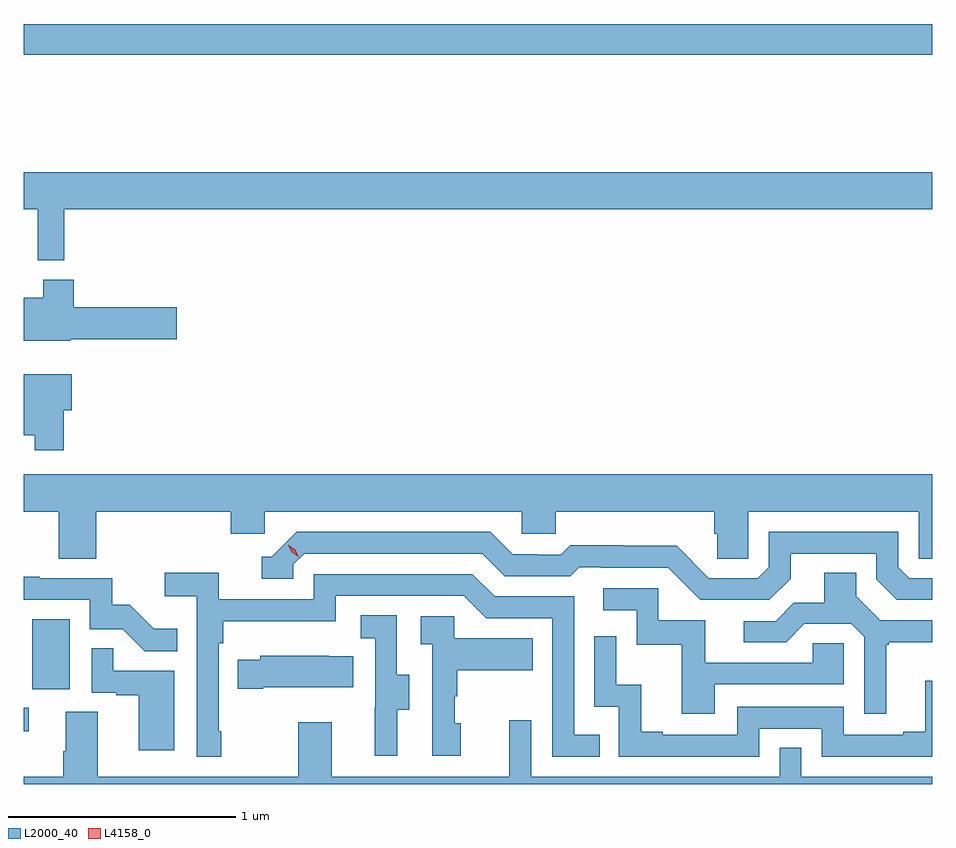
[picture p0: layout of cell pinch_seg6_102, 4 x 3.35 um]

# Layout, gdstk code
import gdstk
lib = gdstk.Library(unit=1e-6, precision=1e-09)
def R(c, l, rs):  # rectangles x0, y0, x1, y1
    for r in rs: c.add(gdstk.rectangle(r[:2], r[2:], *l))
def P(c, l, *ps):  # polygons
    for p in ps: c.add(gdstk.Polygon(p, *l))
L2000_40 = (2000, 40)
L4158_0 = (4158, 0)

pinch_seg6_102 = lib.new_cell('pinch_seg6_102')
R(pinch_seg6_102, L2000_40, [(898.549,915.732,898.57,915.837), (898.586,915.918,898.75,916.225), (898.549,918.712,902.549,918.848)])
P(pinch_seg6_102, L2000_40, [(898.727,918.032),(902.549,918.032),(902.549,918.196),(898.549,918.196),(898.549,918.032),(898.61,918.032),(898.61,917.807),(898.727,917.807)],
  [(898.752,917.459),(899.221,917.459),(899.221,917.601),(898.769,917.601),(898.769,917.722),(898.634,917.722),(898.634,917.641),(898.549,917.641),(898.549,917.453),(898.752,917.453)],
  [(898.724,917.147),(898.759,917.147),(898.759,917.305),(898.549,917.305),(898.549,917.036),(898.596,917.036),(898.596,916.971),(898.724,916.971)],
  [(898.868,916.7),(899.459,916.7),(899.459,916.602),(899.61,916.602),(899.61,916.7),(900.741,916.7),(900.741,916.602),(900.891,916.602),(900.891,916.7),(901.589,916.7),(901.589,916.602),(901.603,916.602),(901.603,916.492),(901.74,916.492),(901.74,916.7),(902.49,916.7),(902.49,916.492),(902.549,916.492),(902.549,916.864),(898.549,916.864),(898.549,916.7),(898.703,916.7),(898.703,916.492),(898.868,916.492)],
  [(901.927,916.405),(901.927,916.515),(902.304,916.515),(902.304,916.401),(902.394,916.311),(902.549,916.311),(902.549,916.407),(902.448,916.407),(902.4,916.455),(902.4,916.611),(901.83,916.611),(901.83,916.455),(901.782,916.407),(901.566,916.407),(901.424,916.549),(901.188,916.549),(901.188,916.552),(900.955,916.552),(900.913,916.509),(900.81,916.509),(900.81,916.512),(900.703,916.512),(900.604,916.611),(899.751,916.611),(899.64,916.5),(899.597,916.5),(899.597,916.404),(899.736,916.404),(899.736,916.467),(899.784,916.515),(900.567,916.515),(900.666,916.416),(900.955,916.416),(900.994,916.455),(901.093,916.455),(901.093,916.452),(901.386,916.452),(901.527,916.311),(901.833,916.311)],
  [(902.347,916.113),(902.359,916.113),(902.359,916.124),(902.549,916.124),(902.549,916.221),(902.322,916.221),(902.215,916.328),(902.215,916.43),(902.075,916.43),(902.075,916.298),(901.94,916.298),(901.86,916.218),(901.719,916.218),(901.719,916.125),(901.906,916.125),(901.987,916.206),(902.193,916.206),(902.25,916.149),(902.25,915.81),(902.347,915.81)],
  [(899.419,915.733),(899.406,915.733),(899.406,916.121),(899.426,916.121),(899.426,916.217),(899.922,916.217),(899.922,916.329),(900.486,916.329),(900.585,916.23),(900.876,916.23),(900.876,915.621),(901.085,915.621),(901.085,915.717),(900.972,915.717),(900.972,916.326),(900.622,916.326),(900.523,916.425),(899.826,916.425),(899.826,916.314),(899.408,916.314),(899.408,916.43),(899.169,916.43),(899.169,916.328),(899.31,916.328),(899.31,915.621),(899.419,915.621)],
  [(899.225,916.183),(899.121,916.183),(899.014,916.29),(898.938,916.29),(898.938,916.407),(898.619,916.407),(898.619,916.412),(898.549,916.412),(898.549,916.311),(898.839,916.311),(898.839,916.182),(898.983,916.182),(899.081,916.084),(899.225,916.084)],
  [(901.591,915.939),(902.16,915.939),(902.16,916.119),(902.023,916.119),(902.023,916.035),(901.549,916.035),(901.549,916.221),(901.344,916.221),(901.344,916.362),(901.101,916.362),(901.101,916.266),(901.248,916.266),(901.248,916.113),(901.447,916.113),(901.447,915.81),(901.591,915.81)],
  [(900.193,915.826),(900.247,915.826),(900.247,915.981),(900.192,915.981),(900.192,916.244),(900.033,916.244),(900.033,916.141),(900.096,916.141),(900.096,915.837),(900.095,915.837),(900.095,915.624),(900.193,915.624)],
  [(900.472,915.768),(900.447,915.768),(900.447,915.887),(900.457,915.887),(900.457,916.001),(900.791,916.001),(900.791,916.141),(900.444,916.141),(900.444,916.239),(900.297,916.239),(900.297,916.115),(900.348,916.115),(900.348,915.624),(900.472,915.624)],
  [(901.788,915.744),(902.064,915.744),(902.064,915.621),(902.549,915.621),(902.549,915.955),(902.519,915.955),(902.519,915.73),(902.423,915.73),(902.423,915.717),(902.16,915.717),(902.16,915.84),(901.692,915.84),(901.692,915.717),(901.363,915.717),(901.363,915.73),(901.268,915.73),(901.268,915.938),(901.158,915.938),(901.158,916.15),(901.062,916.15),(901.062,915.84),(901.17,915.84),(901.17,915.621),(901.788,915.621)],
  [(899.212,915.999),(898.943,915.999),(898.943,916.097),(898.848,916.097),(898.848,915.903),(898.955,915.903),(898.955,915.891),(899.054,915.891),(899.054,915.648),(899.212,915.648)],
  [(899.602,915.926),(899.999,915.926),(899.999,916.063),(899.891,916.063),(899.891,916.066),(899.589,916.066),(899.589,916.048),(899.491,916.048),(899.491,915.919),(899.602,915.919)],
  [(902.549,915.532),(901.974,915.532),(901.974,915.659),(901.878,915.659),(901.878,915.532),(900.783,915.532),(900.783,915.781),(900.686,915.781),(900.686,915.532),(899.905,915.532),(899.905,915.772),(899.758,915.772),(899.758,915.532),(898.873,915.532),(898.873,915.818),(898.733,915.818),(898.733,915.644),(898.721,915.644),(898.721,915.532),(898.549,915.532),(898.549,915.5),(902.549,915.5)])
P(pinch_seg6_102, L4158_0, [(899.759,916.5),(899.728,916.52),(899.712,916.552),(899.712,916.553),(899.713,916.553),(899.743,916.533),(899.759,916.5),(899.759,916.5)])

lib.write_gds('pinch_seg6_102.gds')
